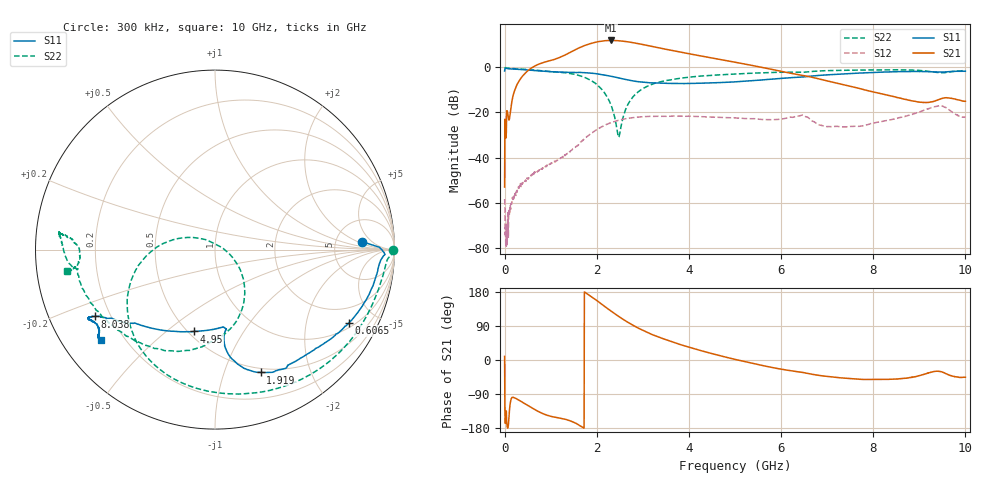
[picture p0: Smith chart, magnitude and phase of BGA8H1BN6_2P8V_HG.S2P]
!Agilent Technologies,E5071C,MY46316587,B.13.01
!Date: Tue Nov 28 12:35:20 2017
!Data & Calibration Information:
!Freq	S11:SOLT2(ON)	S21:SOLT2(ON)	S12:SOLT2(ON)	S22:SOLT2(ON)
!PortZ  Port1:50+j0  Port2:50+j0
!Above PortZ is port z conversion or system Z0 setting when saving the data.
!When reading, reference impedance value at option line is always used.
# Hz S RI R 50
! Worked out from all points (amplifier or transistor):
!   1601 points, 300 kHz to 10 GHz, reference 50 ohm
!   highest |S21| = 11.8 dB at 2.313 GHz (marker M1)
!   |S21| within 3 dB of that: 1.649 GHz to 3.276 GHz (1.626 GHz wide, 66 % of centre)
!   unconditionally stable (mu >= 1): start of sweep to end of sweep
!   at 1.663 GHz: K = 2.47, MAG = 14.2 dB, |S12| = -32.9 dB
!   at 5 GHz: K = 1.98, MAG = 6.6 dB, |S12| = -22.4 dB
!   at 10 GHz: K = 3.64, MAG = -4.9 dB, |S12| = -22.3 dB
!   lowest NFmin = 0.83 dB at 1.9 GHz
!   S11 on the Smith chart (normalised r, x): 300 kHz: 9.49, +2.58; 606.5 MHz: 1.20, -3.53; 1.919 GHz: 0.46, -1.34; 4.95 GHz: 0.54, -0.63; 8.038 GHz: 0.14, -0.25; 10 GHz: 0.12, -0.34
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300000  0.8203 0.0442  0.00221 0.000372  -0.00109 -0.000544  0.9933 -0.0012
5.654831e7  0.9338 -0.0422  -0.108 -0.00691  -2.85e-05 0.000117  0.9458 -0.1082
2.127936e8  0.89 -0.1721  -0.0495 -0.2912  -0.00029 0.00151  0.8644 -0.3313
6.065318e8  0.7457 -0.4077  -0.6036 -0.7895  -0.00103 0.00425  0.4975 -0.7145
1.262762e9  0.5026 -0.5887  -1.59 -0.7456  -0.00685 0.00813  -0.195 -0.7377
1.500255e9  0.4275 -0.6333  -2.243 -0.6264  -0.0117 0.0106  -0.3925 -0.5823
1.669e9  0.3663 -0.6674  -2.803 -0.2108  -0.0174 0.0147  -0.4744 -0.4167
1.918992e9  0.2547 -0.6846  -3.319 0.9411  -0.0246 0.0273  -0.455 -0.1422
2.106487e9  0.1733 -0.6657  -3.177 2.033  -0.0257 0.0403  -0.3254 0.013
2.312731e9  0.106 -0.6197  -2.441 3.035  -0.0208 0.0557  -0.1259 0.0674
2.481476e9  0.0688 -0.5729  -1.587 3.485  -0.0127 0.0661  0.0172 0.0231
2.700219e9  0.051 -0.5141  -0.4832 3.57  0.00119 0.0746  0.1341 -0.0985
3.01271e9  0.0553 -0.4597  0.6818 3.073  0.0212 0.0778  0.1585 -0.3023
3.3377e9  0.0622 -0.4431  1.302 2.339  0.0373 0.0733  0.0677 -0.4584
3.943932e9  0.0332 -0.4341  1.652 1.19  0.0545 0.0614  -0.1789 -0.5637
4.950152e9  -0.1164 -0.456  1.314 0.0708  0.0632 0.0431  -0.5406 -0.4496
5.00015e9  -0.1267 -0.4567  1.285 0.0361  0.0633 0.042  -0.5506 -0.4399
6.66885e9  -0.4873 -0.4102  0.475 -0.3646  0.0644 0.00881  -0.799 -0.0914
8.037559e9  -0.6706 -0.3724  0.173 -0.2176  0.0371 0.0462  -0.8681 0.0851
8.33755e9  -0.6909 -0.3745  0.1489 -0.1844  0.0403 0.0543  -0.8683 0.0925
9.437517e9  -0.6596 -0.4167  0.1683 -0.0982  0.1232 0.0684  -0.7551 -0.00211
1e10  -0.6379 -0.5033  0.1236 -0.1256  0.0742 0.0201  -0.8266 -0.1205
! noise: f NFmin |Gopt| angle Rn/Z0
1.8e+09  0.8422  0.4242  56.46  0.2103
1.9e+09  0.832  0.3738  55.58  0.1983
2e+09  0.835  0.3584  62.68  0.1996
2.1e+09  0.8657  0.3812  67.79  0.1886
2.2e+09  0.8712  0.3949  65.2  0.1956
2.3e+09  0.8913  0.4096  68.62  0.1908
2.4e+09  0.8951  0.3903  72.07  0.1897
2.5e+09  0.8803  0.4067  75.15  0.191
2.6e+09  0.9279  0.4171  77.48  0.1882
2.7e+09  0.9427  0.4154  79.73  0.1875
